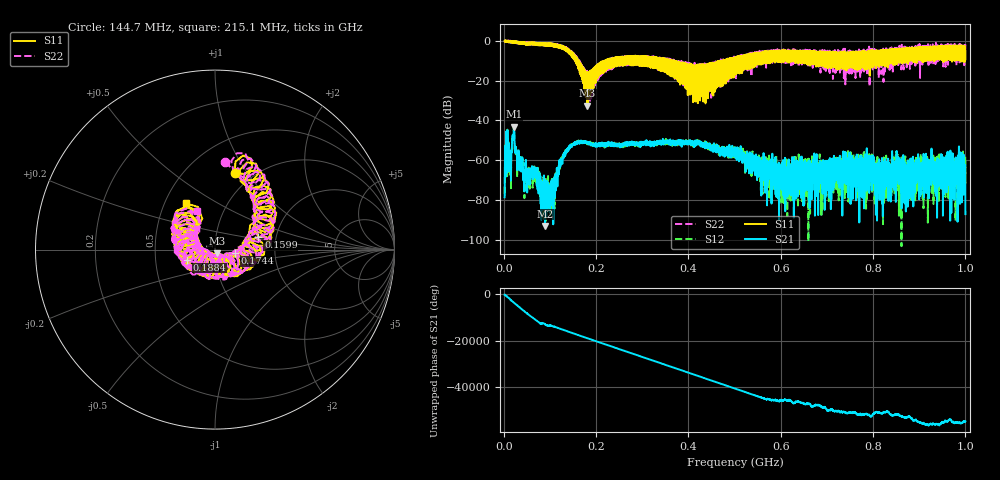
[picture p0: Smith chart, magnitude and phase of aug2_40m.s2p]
!Keysight Technologies N9923A: A.12.45
!Date: Saturday, 02 August 2025 19:55:49
!Timezone: (UTC+08:00) Kuala Lumpur, Singapore
!Model: N9923A
!Serial: MY61181427
!GPS Latitude:
!GPS Longitude:
!GPS TimeStamp: 0001-01-01 00:00:00Z
!GPS Seconds Since Last Read: 0
!CHECKSUM:1451338027
!Correction: S11(ON U)S21(ON U)S12(ON U)S22(ON U)
!S2P File: Measurements:S11,S21,S12,S22:
# Hz S DB R 50
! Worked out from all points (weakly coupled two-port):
!   4001 points, 2 MHz to 1 GHz, reference 50 ohm
!   highest |S21| = -43.05 dB at 22.46 MHz (marker M1); lowest = -93.0 dB at 89.57 MHz (marker M2)
!   lowest |S11| = -32.6 dB at 181.1 MHz (marker M3), VSWR 1.05, Z = 51 - j2.17 ohm
!   |S11| at or under -10 dB: 162.4 MHz to 218.5 MHz (56.14 MHz wide, 29.5 % of centre); 218.6 MHz to 220.1 MHz (1.469 MHz wide, 0.67 % of centre); 369.5 MHz to 473 MHz (103.5 MHz wide, 24.6 % of centre) (the widest 3 of 355)
!   |S22| runs from -30.9 to 0.2 dB; largest |S21 - S12| = 0.0025
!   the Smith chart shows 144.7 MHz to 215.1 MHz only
!   S11 on the Smith chart (normalised r, x): 144.7 MHz: 0.82, +0.88; 159.9 MHz: 1.62, +0.25; 174.4 MHz: 1.25, -0.05; 188.4 MHz: 0.73, -0.08; 215.1 MHz: 0.64, +0.36
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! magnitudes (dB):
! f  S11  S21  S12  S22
! 2 MHz  -0.1  -78.5  -76.8  -0.1
! 7.489 MHz  -0.6  -66.2  -68.8  -0.5
! 22.46 MHz  -1.1  -43.1  -43.0  -1.1
! 46.66 MHz  -0.9  -65.8  -64.9  -0.9
! 65.12 MHz  -1.0  -63.3  -64.4  -1.2
! 89.57 MHz  -2.4  -93.0  -81.4  -2.2
! 105.3 MHz  -1.6  -73.3  -69.4  -1.8
! 144.7 MHz  -7.1  -52.6  -52.4  -6.2
! 159.9 MHz  -12.0  -50.5  -51.3  -12.1
! 168.4 MHz  -14.9  -50.6  -50.5  -16.5
! 174.4 MHz  -19.0  -51.3  -51.3  -15.6
! 181.1 MHz  -32.6  -51.2  -51.1  -19.9
! 188.4 MHz  -15.7  -51.9  -51.3  -18.4
! 215.1 MHz  -10.4  -51.8  -51.4  -12.5
! 334.8 MHz  -12.4  -51.2  -51.6  -8.9
! 415.4 MHz  -30.5  -50.9  -50.7  -13.7
! 501 MHz  -11.5  -56.6  -56.4  -12.7
! 592.8 MHz  -10.5  -62.7  -74.0  -4.2
! 667.4 MHz  -5.7  -65.9  -69.8  -9.8
! 833.8 MHz  -5.3  -66.4  -61.8  -5.3
! 985.3 MHz  -2.4  -73.0  -65.6  -4.6
! 1 GHz  -5.2  -87.0  -58.8  -1.9
